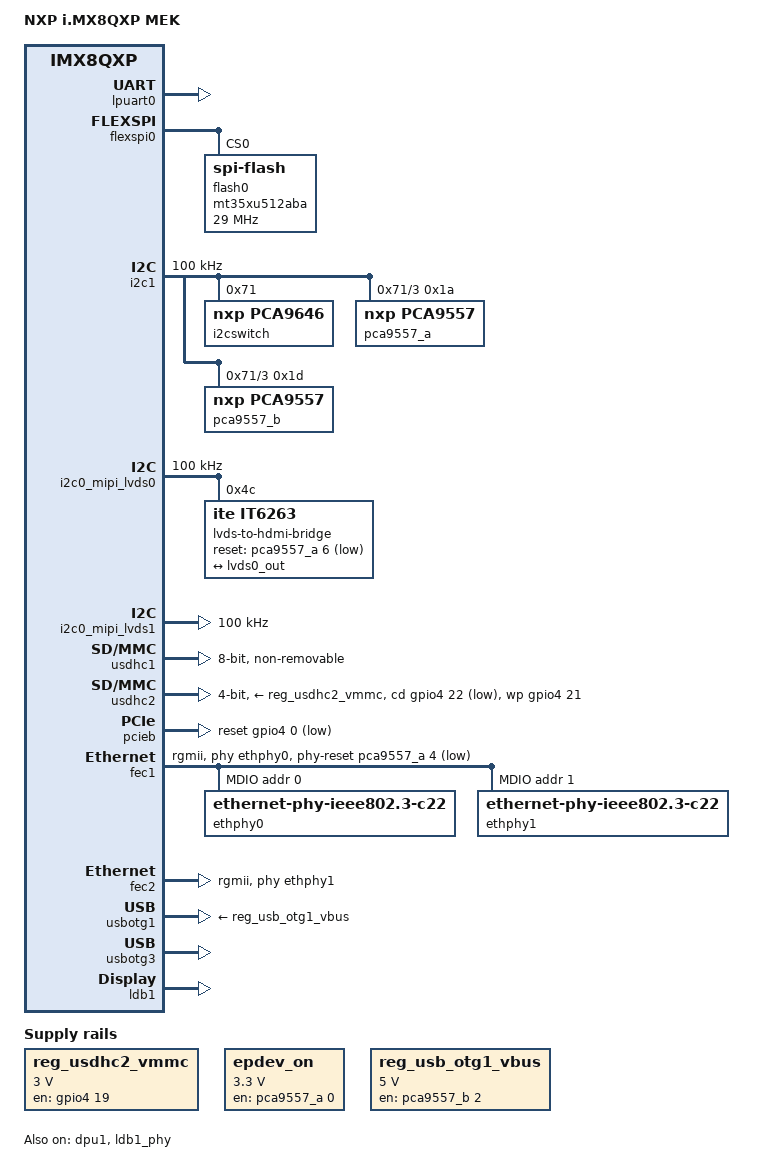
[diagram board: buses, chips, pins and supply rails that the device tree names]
// SPDX-License-Identifier: GPL-2.0+
/*
 * Copyright 2017-2018 NXP
 */

/dts-v1/;

#include "fsl-imx8qxp.dtsi"

/ {
	model = "NXP i.MX8QXP MEK";
	compatible = "fsl,imx8qxp-mek", "fsl,imx8qxp";

	aliases {
		i2c4 = &bb_i2c1;
		i2c5 = &mfi_i2c1;
		i2c6 = &i2cexp1_i2c1;
		i2c7 = &i2cexp2_i2c1;
		gpio8 = &pca9557_a;
		gpio9 = &pca9557_b;
	};

	chosen {
		bootargs = "console=ttyLP0,115200 earlycon";
		stdout-path = &lpuart0;
	};

	regulators {
		compatible = "simple-bus";
		#address-cells = <1>;
		#size-cells = <0>;

		reg_usdhc2_vmmc: regulator-usdhc2-vmmc {
			compatible = "regulator-fixed";
			regulator-name = "SD1_SPWR";
			regulator-min-microvolt = <3000000>;
			regulator-max-microvolt = <3000000>;
			gpio = <&gpio4 19 GPIO_ACTIVE_HIGH>;
			enable-active-high;
			off-on-delay-us = <3480>;
		};

		epdev_on: fixedregulator@100 {
			compatible = "regulator-fixed";
			regulator-min-microvolt = <3300000>;
			regulator-max-microvolt = <3300000>;
			regulator-name = "epdev_on";
			gpio = <&pca9557_a 0 GPIO_ACTIVE_HIGH>;
			enable-active-high;
		};

		reg_usb_otg1_vbus: regulator@0 {
			compatible = "regulator-fixed";
			reg = <0>;
			regulator-name = "usb_otg1_vbus";
			regulator-min-microvolt = <5000000>;
			regulator-max-microvolt = <5000000>;
			gpio = <&pca9557_b 2 GPIO_ACTIVE_HIGH>;
			enable-active-high;
		};

	};
};

&iomuxc {
	pinctrl-names = "default";
	pinctrl-0 = <&pinctrl_hog>;

	imx8qxp-mek {
		pinctrl_hog: hoggrp {
			fsl,pins = <
				SC_P_MCLK_OUT0_ADMA_ACM_MCLK_OUT0	0x0600004c
				SC_P_COMP_CTL_GPIO_1V8_3V3_GPIORHB_PAD	0x000514a0
			>;
		};

		pinctrl_fec1: fec1grp {
			fsl,pins = <
				SC_P_COMP_CTL_GPIO_1V8_3V3_ENET_ENETB0_PAD	0x000014a0
				SC_P_COMP_CTL_GPIO_1V8_3V3_ENET_ENETB1_PAD	0x000014a0
				SC_P_ENET0_MDC_CONN_ENET0_MDC			0x06000020
				SC_P_ENET0_MDIO_CONN_ENET0_MDIO			0x06000020
				SC_P_ENET0_RGMII_TX_CTL_CONN_ENET0_RGMII_TX_CTL	0x00000061
				SC_P_ENET0_RGMII_TXC_CONN_ENET0_RGMII_TXC	0x00000061
				SC_P_ENET0_RGMII_TXD0_CONN_ENET0_RGMII_TXD0	0x00000061
				SC_P_ENET0_RGMII_TXD1_CONN_ENET0_RGMII_TXD1	0x00000061
				SC_P_ENET0_RGMII_TXD2_CONN_ENET0_RGMII_TXD2	0x00000061
				SC_P_ENET0_RGMII_TXD3_CONN_ENET0_RGMII_TXD3	0x00000061
				SC_P_ENET0_RGMII_RXC_CONN_ENET0_RGMII_RXC	0x00000061
				SC_P_ENET0_RGMII_RX_CTL_CONN_ENET0_RGMII_RX_CTL	0x00000061
				SC_P_ENET0_RGMII_RXD0_CONN_ENET0_RGMII_RXD0	0x00000061
				SC_P_ENET0_RGMII_RXD1_CONN_ENET0_RGMII_RXD1	0x00000061
				SC_P_ENET0_RGMII_RXD2_CONN_ENET0_RGMII_RXD2	0x00000061
				SC_P_ENET0_RGMII_RXD3_CONN_ENET0_RGMII_RXD3	0x00000061
			>;
		};

		pinctrl_fec2: fec2grp {
			fsl,pins = <
				SC_P_ESAI0_SCKR_CONN_ENET1_RGMII_TX_CTL		0x00000060
				SC_P_ESAI0_FSR_CONN_ENET1_RGMII_TXC		0x00000060
				SC_P_ESAI0_TX4_RX1_CONN_ENET1_RGMII_TXD0	0x00000060
				SC_P_ESAI0_TX5_RX0_CONN_ENET1_RGMII_TXD1	0x00000060
				SC_P_ESAI0_FST_CONN_ENET1_RGMII_TXD2		0x00000060
				SC_P_ESAI0_SCKT_CONN_ENET1_RGMII_TXD3		0x00000060
				SC_P_ESAI0_TX0_CONN_ENET1_RGMII_RXC		0x00000060
				SC_P_SPDIF0_TX_CONN_ENET1_RGMII_RX_CTL		0x00000060
				SC_P_SPDIF0_RX_CONN_ENET1_RGMII_RXD0		0x00000060
				SC_P_ESAI0_TX3_RX2_CONN_ENET1_RGMII_RXD1	0x00000060
				SC_P_ESAI0_TX2_RX3_CONN_ENET1_RGMII_RXD2	0x00000060
				SC_P_ESAI0_TX1_CONN_ENET1_RGMII_RXD3		0x00000060
			>;
		};

		pinctrl_lpi2c1: lpi2c1grp {
			fsl,pins = <
				SC_P_USB_SS3_TC1_ADMA_I2C1_SCL	0x06000021
				SC_P_USB_SS3_TC3_ADMA_I2C1_SDA	0x06000021
			>;
		};

		pinctrl_lpuart0: lpuart0grp {
			fsl,pins = <
				SC_P_UART0_RX_ADMA_UART0_RX	0x06000020
				SC_P_UART0_TX_ADMA_UART0_TX	0x06000020
			>;
		};

		pinctrl_usdhc1: usdhc1grp {
			fsl,pins = <
				SC_P_EMMC0_CLK_CONN_EMMC0_CLK		0x06000041
				SC_P_EMMC0_CMD_CONN_EMMC0_CMD		0x00000021
				SC_P_EMMC0_DATA0_CONN_EMMC0_DATA0	0x00000021
				SC_P_EMMC0_DATA1_CONN_EMMC0_DATA1	0x00000021
				SC_P_EMMC0_DATA2_CONN_EMMC0_DATA2	0x00000021
				SC_P_EMMC0_DATA3_CONN_EMMC0_DATA3	0x00000021
				SC_P_EMMC0_DATA4_CONN_EMMC0_DATA4	0x00000021
				SC_P_EMMC0_DATA5_CONN_EMMC0_DATA5	0x00000021
				SC_P_EMMC0_DATA6_CONN_EMMC0_DATA6	0x00000021
				SC_P_EMMC0_DATA7_CONN_EMMC0_DATA7	0x00000021
				SC_P_EMMC0_STROBE_CONN_EMMC0_STROBE	0x00000041
			>;
		};

		pinctrl_usdhc2_gpio: usdhc2gpiogrp {
			fsl,pins = <
				SC_P_USDHC1_RESET_B_LSIO_GPIO4_IO19	0x00000021
				SC_P_USDHC1_WP_LSIO_GPIO4_IO21		0x00000021
				SC_P_USDHC1_CD_B_LSIO_GPIO4_IO22	0x00000021
			>;
		};

		pinctrl_usdhc2: usdhc2grp {
			fsl,pins = <
				SC_P_USDHC1_CLK_CONN_USDHC1_CLK		0x06000041
				SC_P_USDHC1_CMD_CONN_USDHC1_CMD		0x00000021
				SC_P_USDHC1_DATA0_CONN_USDHC1_DATA0	0x00000021
				SC_P_USDHC1_DATA1_CONN_USDHC1_DATA1	0x00000021
				SC_P_USDHC1_DATA2_CONN_USDHC1_DATA2	0x00000021
				SC_P_USDHC1_DATA3_CONN_USDHC1_DATA3	0x00000021
				SC_P_USDHC1_VSELECT_CONN_USDHC1_VSELECT	0x00000021
			>;
		};

		pinctrl_pcieb: pcieagrp{
			fsl,pins = <
				SC_P_PCIE_CTRL0_PERST_B_LSIO_GPIO4_IO00		0x06000021
				SC_P_PCIE_CTRL0_CLKREQ_B_LSIO_GPIO4_IO01	0x06000021
				SC_P_PCIE_CTRL0_WAKE_B_LSIO_GPIO4_IO02		0x04000021
			>;
		};

		pinctrl_flexspi0: flexspi0grp {
			fsl,pins = <
				SC_P_QSPI0A_DATA0_LSIO_QSPI0A_DATA0	0x06000021
				SC_P_QSPI0A_DATA1_LSIO_QSPI0A_DATA1	0x06000021
				SC_P_QSPI0A_DATA2_LSIO_QSPI0A_DATA2	0x06000021
				SC_P_QSPI0A_DATA3_LSIO_QSPI0A_DATA3	0x06000021
				SC_P_QSPI0A_DQS_LSIO_QSPI0A_DQS		0x06000021
				SC_P_QSPI0A_SS0_B_LSIO_QSPI0A_SS0_B	0x06000021
				SC_P_QSPI0A_SS1_B_LSIO_QSPI0A_SS1_B	0x06000021
				SC_P_QSPI0A_SCLK_LSIO_QSPI0A_SCLK	0x06000021
				SC_P_QSPI0B_SCLK_LSIO_QSPI0B_SCLK	0x06000021
				SC_P_QSPI0B_DATA0_LSIO_QSPI0B_DATA0	0x06000021
				SC_P_QSPI0B_DATA1_LSIO_QSPI0B_DATA1	0x06000021
				SC_P_QSPI0B_DATA2_LSIO_QSPI0B_DATA2	0x06000021
				SC_P_QSPI0B_DATA3_LSIO_QSPI0B_DATA3	0x06000021
				SC_P_QSPI0B_DQS_LSIO_QSPI0B_DQS		0x06000021
				SC_P_QSPI0B_SS0_B_LSIO_QSPI0B_SS0_B	0x06000021
				SC_P_QSPI0B_SS1_B_LSIO_QSPI0B_SS1_B	0x06000021
			>;
		};

		pinctrl_i2c0_mipi_lvds0: mipi_lvds0_i2c0_grp {
			fsl,pins = <
				SC_P_MIPI_DSI0_I2C0_SCL_MIPI_DSI0_I2C0_SCL 0xc6000020
				SC_P_MIPI_DSI0_I2C0_SDA_MIPI_DSI0_I2C0_SDA 0xc6000020
			>;
		};

		pinctrl_i2c0_mipi_lvds1: mipi_lvds1_i2c0_grp {
			fsl,pins = <
				SC_P_MIPI_DSI1_I2C0_SCL_MIPI_DSI1_I2C0_SCL 0xc6000020
				SC_P_MIPI_DSI1_I2C0_SDA_MIPI_DSI1_I2C0_SDA 0xc6000020
			>;
		};
	};
};

&A35_0 {
	u-boot,dm-pre-reloc;
};

&lpuart0 {
	pinctrl-names = "default";
	pinctrl-0 = <&pinctrl_lpuart0>;
	status = "okay";
};

&gpio0 {
	status = "okay";
};

&gpio1 {
	status = "okay";
};

&gpio3 {
	status = "okay";
};

&gpio4 {
	status = "okay";
};

&flexspi0 {
	pinctrl-names = "default";
	pinctrl-0 = <&pinctrl_flexspi0>;
	status = "okay";

	flash0: mt35xu512aba@0 {
		reg = <0>;
		#address-cells = <1>;
		#size-cells = <1>;
		compatible = "spi-flash";
		spi-max-frequency = <29000000>;
		spi-nor,ddr-quad-read-dummy = <8>;
	};
};

&i2c1 {
	clock-frequency = <100000>;
	pinctrl-names = "default";
	pinctrl-0 = <&pinctrl_lpi2c1>;
	status = "okay";

	i2cswitch@71 {
		compatible = "nxp,pca9646";
		reg = <0x71>;
		u-boot,i2c-offset-len = <0>;
		#address-cells = <1>;
		#size-cells = <0>;

		bb_i2c1: i2c@0 {
			#address-cells = <1>;
			#size-cells = <0>;
			reg = <0x0>;
		};

		mfi_i2c1: i2c@1 {
			#address-cells = <1>;
			#size-cells = <0>;
			reg = <0x1>;
		};

		i2cexp1_i2c1: i2c@2 {
			#address-cells = <1>;
			#size-cells = <0>;
			reg = <0x2>;
		};

		i2cexp2_i2c1: i2c@3 {
			#address-cells = <1>;
			#size-cells = <0>;
			reg = <0x3>;

			pca9557_a: gpio@1a {
				compatible = "nxp,pca9557";
				reg = <0x1a>;
				gpio-controller;
				#gpio-cells = <2>;
			};
			pca9557_b: gpio@1d {
				compatible = "nxp,pca9557";
				reg = <0x1d>;
				gpio-controller;
				#gpio-cells = <2>;
			};
		};
	};
};

&i2c0_mipi_lvds0 {
	#address-cells = <1>;
	#size-cells = <0>;
	pinctrl-names = "default";
	pinctrl-0 = <&pinctrl_i2c0_mipi_lvds0>;
	clock-frequency = <100000>;
	status = "okay";

	lvds-to-hdmi-bridge@4c {
		compatible = "ite,it6263";
		reg = <0x4c>;
		reset-gpios = <&pca9557_a 6 GPIO_ACTIVE_LOW>;

		port {
			it6263_0_in: endpoint {
				clock-lanes = <4>;
				data-lanes = <0 1 2 3>;
				remote-endpoint = <&lvds0_out>;
			};
		};
	};
};

&i2c0_mipi_lvds1 {
	#address-cells = <1>;
	#size-cells = <0>;
	pinctrl-names = "default";
	pinctrl-0 = <&pinctrl_i2c0_mipi_lvds1>;
	clock-frequency = <100000>;
	status = "okay";
};

&usdhc1 {
	pinctrl-names = "default", "state_100mhz", "state_200mhz";
	pinctrl-0 = <&pinctrl_usdhc1>;
	pinctrl-1 = <&pinctrl_usdhc1>;
	pinctrl-2 = <&pinctrl_usdhc1>;
	bus-width = <8>;
	non-removable;
	status = "okay";
};

&usdhc2 {
	pinctrl-names = "default", "state_100mhz", "state_200mhz";
	pinctrl-0 = <&pinctrl_usdhc2>, <&pinctrl_usdhc2_gpio>;
	pinctrl-1 = <&pinctrl_usdhc2>, <&pinctrl_usdhc2_gpio>;
	pinctrl-2 = <&pinctrl_usdhc2>, <&pinctrl_usdhc2_gpio>;
	bus-width = <4>;
	cd-gpios = <&gpio4 22 GPIO_ACTIVE_LOW>;
	wp-gpios = <&gpio4 21 GPIO_ACTIVE_HIGH>;
	vmmc-supply = <&reg_usdhc2_vmmc>;
	status = "okay";
};

&pcieb{
	ext_osc = <1>;
	pinctrl-names = "default";
	pinctrl-0 = <&pinctrl_pcieb>;
	clkreq-gpio = <&gpio4 1 GPIO_ACTIVE_LOW>;
	power-on-gpio = <&pca9557_a 2 GPIO_ACTIVE_HIGH>;
	reset-gpio = <&gpio4 0 GPIO_ACTIVE_LOW>;
	epdev_on = <&epdev_on>;
	status = "okay";
};

&fec1 {
	pinctrl-names = "default";
	pinctrl-0 = <&pinctrl_fec1>;
	phy-mode = "rgmii";
	phy-handle = <&ethphy0>;
	fsl,ar8031-phy-fixup;
	fsl,magic-packet;
	status = "okay";
	phy-reset-gpios = <&pca9557_a 4 GPIO_ACTIVE_LOW>;
	phy-reset-duration = <10>;
	phy-reset-post-delay = <150>;

	mdio {
		#address-cells = <1>;
		#size-cells = <0>;

		ethphy0: ethernet-phy@0 {
			compatible = "ethernet-phy-ieee802.3-c22";
			reg = <0>;
		};
		ethphy1: ethernet-phy@1 {
			compatible = "ethernet-phy-ieee802.3-c22";
			reg = <1>;
		};
	};
};

&fec2 {
	pinctrl-names = "default";
	pinctrl-0 = <&pinctrl_fec2>;
	phy-mode = "rgmii";
	phy-handle = <&ethphy1>;
	fsl,ar8031-phy-fixup;
	fsl,magic-packet;
	status = "okay";
};

&usbotg1 {
	vbus-supply = <&reg_usb_otg1_vbus>;
	srp-disable;
	hnp-disable;
	adp-disable;
	power-polarity-active-high;
	disable-over-current;
	status = "okay";
};

&usbotg3 {
	status = "okay";
};

&dpu1 {
	status = "okay";
};

&ldb1_phy {
	status = "okay";
};

&ldb1 {
	status = "okay";

	lvds-channel@0 {
		fsl,data-mapping = "jeida";
		fsl,data-width = <24>;
		status = "okay";

		display-timings {
			native-mode = <&timing0>;

			timing0: timing0 {
				clock-frequency = <74250000>;
				hactive = <1280>;
				vactive = <720>;
				hfront-porch = <220>;
				hback-porch = <110>;
				hsync-len = <40>;
				vback-porch = <5>;
				vfront-porch = <20>;
				vsync-len = <5>;
			};
		};

		port@1 {
			reg = <1>;

			lvds0_out: endpoint {
				remote-endpoint = <&it6263_0_in>;
			};
		};
	};
};
